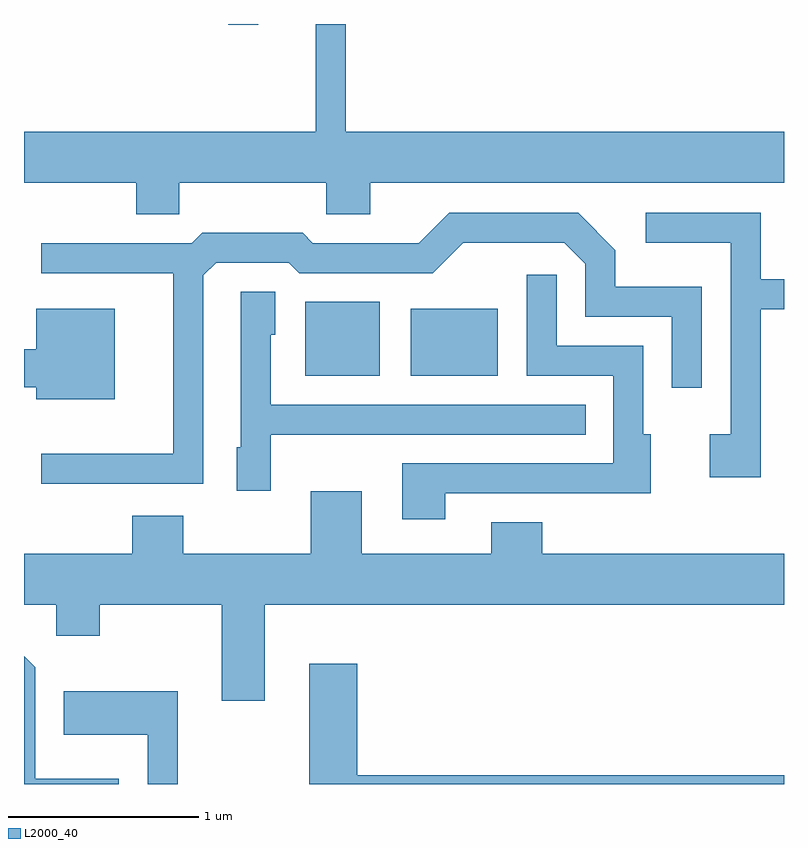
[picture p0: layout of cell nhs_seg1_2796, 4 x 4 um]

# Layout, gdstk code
import gdstk
lib = gdstk.Library(unit=1e-6, precision=1e-09)
def R(c, l, rs):  # rectangles x0, y0, x1, y1
    for r in rs: c.add(gdstk.rectangle(r[:2], r[2:], *l))
def P(c, l, *ps):  # polygons
    for p in ps: c.add(gdstk.Polygon(p, *l))
L2000_40 = (2000, 40)

nhs_seg1_2796 = lib.new_cell('nhs_seg1_2796')
R(nhs_seg1_2796, L2000_40, [(271.091,931.861,271.484,932.249), (271.646,931.861,272.104,932.214), (270.686,933.708,270.844,933.712)])
P(nhs_seg1_2796, L2000_40, [(270.429,932.876),(271.201,932.876),(271.201,932.711),(271.434,932.711),(271.434,932.876),(273.611,932.876),(273.611,933.144),(271.304,933.144),(271.304,933.712),(271.146,933.712),(271.146,933.144),(269.611,933.144),(269.611,932.876),(270.201,932.876),(270.201,932.711),(270.429,932.711)],
  [(273.489,932.211),(273.611,932.211),(273.611,932.369),(273.489,932.369),(273.489,932.719),(272.883,932.719),(272.883,932.561),(273.331,932.561),(273.331,931.554),(273.221,931.554),(273.221,931.326),(273.489,931.326)],
  [(270.554,932.389),(270.622,932.456),(271.004,932.456),(271.059,932.401),(271.762,932.401),(271.922,932.561),(272.454,932.561),(272.566,932.449),(272.566,932.171),(273.021,932.171),(273.021,931.798),(273.179,931.798),(273.179,932.329),(272.724,932.329),(272.724,932.522),(272.527,932.719),(271.849,932.719),(271.689,932.559),(271.132,932.559),(271.077,932.614),(270.549,932.614),(270.494,932.559),(269.703,932.559),(269.703,932.401),(270.396,932.401),(270.396,931.449),(269.703,931.449),(269.703,931.291),(270.554,931.291)],
  [(271.829,931.241),(272.909,931.241),(272.909,931.554),(272.869,931.554),(272.869,932.019),(272.414,932.019),(272.414,932.393),(272.256,932.393),(272.256,931.861),(272.711,931.861),(272.711,931.399),(271.601,931.399),(271.601,931.106),(271.829,931.106)],
  [(270.909,931.551),(272.568,931.551),(272.568,931.709),(270.909,931.709),(270.909,932.076),(270.934,932.076),(270.934,932.304),(270.751,932.304),(270.751,931.484),(270.731,931.484),(270.731,931.256),(270.909,931.256)],
  [(270.089,932.214),(269.676,932.214),(269.676,931.999),(269.611,931.999),(269.611,931.801),(269.676,931.801),(269.676,931.736),(270.089,931.736)],
  [(270.879,930.656),(273.611,930.656),(273.611,930.924),(272.339,930.924),(272.339,931.089),(272.071,931.089),(272.071,930.924),(271.389,930.924),(271.389,931.254),(271.121,931.254),(271.121,930.924),(270.449,930.924),(270.449,931.124),(270.181,931.124),(270.181,930.924),(269.611,930.924),(269.611,930.656),(269.781,930.656),(269.781,930.491),(270.009,930.491),(270.009,930.656),(270.651,930.656),(270.651,930.151),(270.879,930.151)],
  [(270.109,929.739),(269.669,929.739),(269.669,930.327),(269.611,930.385),(269.611,929.712),(270.109,929.712)],
  [(273.611,929.759),(271.364,929.759),(271.364,930.344),(271.111,930.344),(271.111,929.712),(273.611,929.712)],
  [(270.419,930.199),(269.821,930.199),(269.821,929.971),(270.261,929.971),(270.261,929.712),(270.419,929.712)])

lib.write_gds('nhs_seg1_2796.gds')
